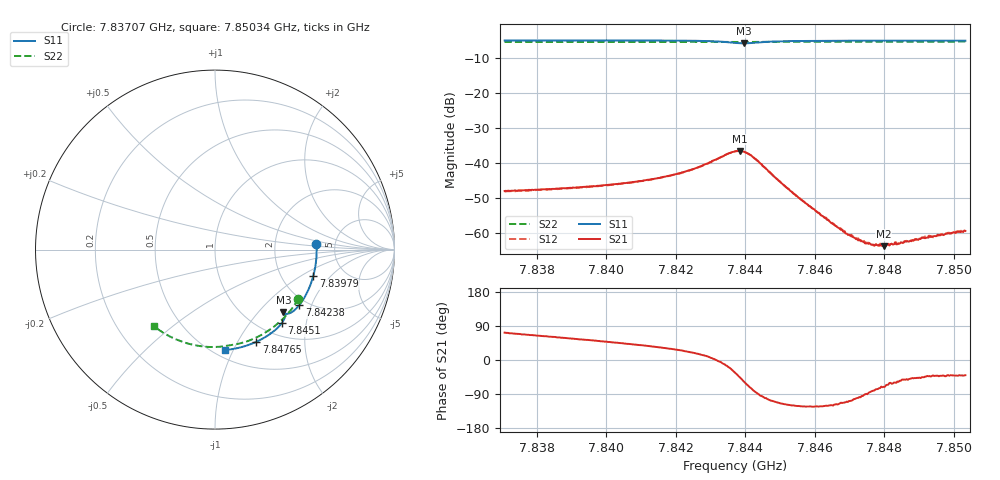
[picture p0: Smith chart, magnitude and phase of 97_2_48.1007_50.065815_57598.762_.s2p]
#  HZ  S  RI  R  50.00
! Rohde & Schwarz Vector Network Analyzer
! Rohde-Schwarz,ZNB20-2Port,1311601062101988,3.16
! Created: UTC 12/23/2023, 3:44:22 AM
! freq[Hz]  re:S11  im:S11  re:S21  im:S21  re:S12  im:S12  re:S22  im:S22
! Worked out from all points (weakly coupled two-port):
!   401 points, 7.83707 GHz to 7.85034 GHz, reference 50 ohm
!   highest |S21| = -36.58 dB at 7.84384 GHz (marker M1); lowest = -63.9 dB at 7.84799 GHz (marker M2)
!   lowest |S11| = -5.7 dB at 7.84397 GHz (marker M3), VSWR 3.13, Z = 72.8 - j69 ohm
!   |S11| at or under -10 dB: nowhere
!   |S22| runs from -5.4 to -5.3 dB; largest |S21 - S12| = 0.00028
!   S11 on the Smith chart (normalised r, x): 7.83707 GHz: 3.58, +0.33; 7.83979 GHz: 2.98, -1.31; 7.84238 GHz: 1.81, -1.64; 7.8451 GHz: 1.24, -1.46; 7.84765 GHz: 0.80, -1.20; 7.85034 GHz: 0.57, -0.93
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7.837069e9  0.5654 0.0309  0.00121 0.00376  0.00126 0.00369  0.4648 -0.2743
7.839292e9  0.5549 -0.1166  0.00262 0.00364  0.00261 0.0036  0.3678 -0.3959
7.83979e9  0.547 -0.1492  0.003 0.00361  0.00298 0.00355  0.3417 -0.419
7.841516e9  0.5032 -0.2584  0.00505 0.00336  0.00504 0.00335  0.2404 -0.4848
7.842378e9  0.469 -0.3104  0.00724 0.00284  0.00721 0.00287  0.1846 -0.5089
7.843208e9  0.4201 -0.3526  0.0114 -0.000483  0.0115 -0.000202  0.1286 -0.5252
7.843706e9  0.385 -0.3551  0.0122 -0.00809  0.0123 -0.00795  0.0951 -0.5306
7.843838e9  0.3809 -0.3508  0.0104 -0.0105  0.0104 -0.0105  0.0867 -0.532
7.843971e9  0.3812 -0.3476  0.0077 -0.0123  0.00768 -0.0121  0.0784 -0.5335
7.844137e9  0.3853 -0.3485  0.00397 -0.0125  0.00404 -0.0124  0.0677 -0.5353
7.844336e9  0.3899 -0.3573  0.000548 -0.0109  0.000584 -0.0108  0.0548 -0.5377
7.845099e9  0.3731 -0.4081  -0.00212 -0.00435  -0.00212 -0.00439  0.00132 -0.5428
7.845929e9  0.3317 -0.4512  -0.00122 -0.00187  -0.00123 -0.00187  -0.0574 -0.5406
7.846891e9  0.2772 -0.4894  -0.000358 -0.000903  -0.000356 -0.000945  -0.1241 -0.5299
7.847422e9  0.2454 -0.5064  -2.62e-05 -0.000727  -5.61e-05 -0.000751  -0.1601 -0.5205
7.847655e9  0.2312 -0.5132  9.47e-05 -0.000671  0.000104 -0.000659  -0.1757 -0.5157
7.847986e9  0.2107 -0.5221  0.00021 -0.000604  0.00024 -0.000629  -0.1976 -0.5078
7.848152e9  0.2003 -0.5263  0.000319 -0.00057  0.000305 -0.000582  -0.2085 -0.5036
7.848451e9  0.1816 -0.533  0.000401 -0.000569  0.000432 -0.000576  -0.2278 -0.4954
7.84865e9  0.1688 -0.5371  0.000475 -0.000574  0.000484 -0.000588  -0.2404 -0.4896
7.849811e9  0.0936 -0.5549  0.000731 -0.000634  0.000743 -0.000645  -0.3109 -0.4488
7.850342e9  0.0585 -0.5594  0.000807 -0.000683  0.000801 -0.000697  -0.3409 -0.4266
